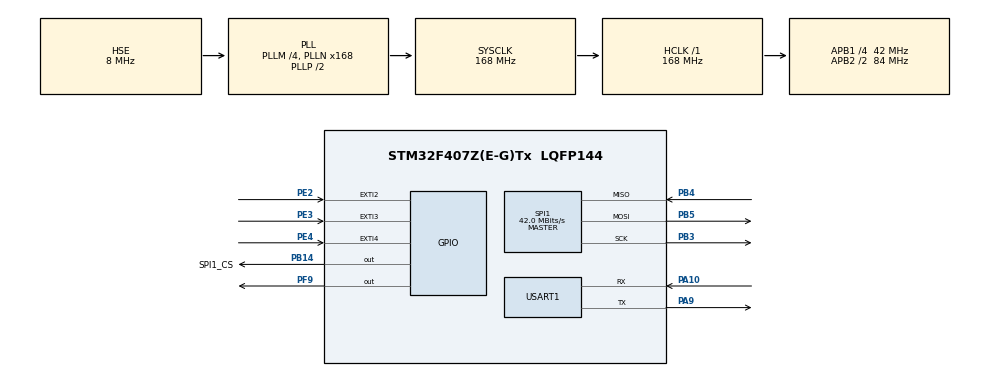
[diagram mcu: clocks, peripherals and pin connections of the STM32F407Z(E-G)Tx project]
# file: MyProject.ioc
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Mcu.Family=STM32F4
Mcu.Name=STM32F407Z(E-G)Tx
Mcu.Package=LQFP144
NVIC.EXTI2_IRQn=true\:3\:0\:true\:false\:true\:true\:true
NVIC.EXTI3_IRQn=true\:3\:0\:true\:false\:true\:true\:true
NVIC.EXTI4_IRQn=true\:3\:0\:true\:false\:true\:true\:true
NVIC.PriorityGroup=NVIC_PRIORITYGROUP_4
NVIC.USART1_IRQn=true\:0\:0\:false\:false\:true\:true\:true
PA10.Mode=Asynchronous
PA10.Signal=USART1_RX
PA13.Mode=Serial_Wire
PA13.Signal=SYS_JTMS-SWDIO
PA14.Mode=Serial_Wire
PA14.Signal=SYS_JTCK-SWCLK
PA9.Mode=Asynchronous
PA9.Signal=USART1_TX
PB14.GPIO_Label=SPI1_CS
PB14.GPIO_PuPd=GPIO_PULLUP
PB14.GPIO_Speed=GPIO_SPEED_FREQ_VERY_HIGH
PB14.PinState=GPIO_PIN_SET
PB14.Signal=GPIO_Output
PB3.Mode=Full_Duplex_Master
PB3.Signal=SPI1_SCK
PB4.Mode=Full_Duplex_Master
PB4.Signal=SPI1_MISO
PB5.Mode=Full_Duplex_Master
PB5.Signal=SPI1_MOSI
PE2.GPIO_ModeDefaultEXTI=GPIO_MODE_IT_RISING
PE2.GPIO_PuPd=GPIO_NOPULL
PE2.Signal=GPXTI2
PE3.GPIO_ModeDefaultEXTI=GPIO_MODE_IT_RISING
PE3.GPIO_PuPd=GPIO_NOPULL
PE3.Signal=GPXTI3
PE4.GPIO_ModeDefaultEXTI=GPIO_MODE_IT_RISING
PE4.GPIO_PuPd=GPIO_NOPULL
PE4.Signal=GPXTI4
PF9.GPIO_ModeDefaultOutputPP=GPIO_MODE_OUTPUT_PP
PF9.GPIO_PuPd=GPIO_NOPULL
PF9.GPIO_Speed=GPIO_SPEED_FREQ_LOW
PF9.PinState=GPIO_PIN_RESET
PF9.Signal=GPIO_Output
PH0-OSC_IN.Mode=HSE-External-Oscillator
PH0-OSC_IN.Signal=RCC_OSC_IN
PH1-OSC_OUT.Mode=HSE-External-Oscillator
PH1-OSC_OUT.Signal=RCC_OSC_OUT
ProjectManager.HeapSize=0x200
ProjectManager.StackSize=0x400
ProjectManager.TargetToolchain=MDK-ARM V5
RCC.48MHZClocksFreq_Value=84000000
RCC.AHBFreq_Value=168000000
RCC.APB1CLKDivider=RCC_HCLK_DIV4
RCC.APB1Freq_Value=42000000
RCC.APB1TimFreq_Value=84000000
RCC.APB2CLKDivider=RCC_HCLK_DIV2
RCC.APB2Freq_Value=84000000
RCC.APB2TimFreq_Value=168000000
RCC.CortexFreq_Value=168000000
RCC.HCLKFreq_Value=168000000
RCC.HSE_VALUE=8000000
RCC.HSI_VALUE=16000000
RCC.LSE_VALUE=32768
RCC.PLLM=4
RCC.PLLN=168
RCC.PLLSourceVirtual=RCC_PLLSOURCE_HSE
RCC.SYSCLKFreq_VALUE=168000000
RCC.SYSCLKSource=RCC_SYSCLKSOURCE_PLLCLK
RCC.VCOOutputFreq_Value=336000000
SPI1.CalculateBaudRate=42.0 MBits/s
SPI1.Direction=SPI_DIRECTION_2LINES
SPI1.Mode=SPI_MODE_MASTER
SPI1.VirtualType=VM_MASTER
USART1.VirtualMode=VM_ASYNC
board=custom

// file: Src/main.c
/* USER CODE BEGIN Header */
/**
  ******************************************************************************
  * @file           : main.c
  * @brief          : Main program body
  ******************************************************************************
  * @attention
  *
  * <h2><center>&copy; Copyright (c) 2020 STMicroelectronics.
  * All rights reserved.</center></h2>
  *
  * This software component is licensed by ST under BSD 3-Clause license,
  * the "License"; You may not use this file except in compliance with the
  * License. You may obtain a copy of the License at:
  *                        opensource.org/licenses/BSD-3-Clause
  *
  ******************************************************************************
  */
/* USER CODE END Header */

#include "main.h"
#include "spi.h"
#include "usart.h"
#include "gpio.h"

/* USER CODE BEGIN Includes */
#include "w25qxx.h"
/* USER CODE END Includes */

void SystemClock_Config(void);

/* USER CODE BEGIN 0 */
uint8_t RxCounter=0,RxBuffer1[50]={0},RxYemp1=0,F_Usart=0;
float get;
char getchar;
uint32_t getu32;
int getint;
const uint8_t TEXT_Buffer[]={"Handsome Chen\r\n"};
uint8_t TEXT_Buffer1[2]={12,13};
#define SIZE sizeof(TEXT_Buffer)
/* USER CODE END 0 */

int main(void)
{
  /* USER CODE BEGIN 1 */
	uint32_t FLASH_SIZE;
	uint8_t datatemp[25];
	//float test=3.545454;
  /* USER CODE END 1 */

  /* MCU Configuration--------------------------------------------------------*/

  /* Reset of all peripherals, Initializes the Flash interface and the Systick. */
  HAL_Init();

  /* Configure the system clock */
  SystemClock_Config();

  /* Initialize all configured peripherals */
  MX_GPIO_Init();
  MX_USART1_UART_Init();
  MX_SPI1_Init();
  /* USER CODE BEGIN 2 */
	W25QXX_Init();				    //W25QXX初始化
	FLASH_SIZE=16*1024*1024;	//FLASH 大小为16M字节
  /* USER CODE END 2 */

  /* Infinite loop */
  /* USER CODE BEGIN WHILE */
  while (1)
  {
		while(W25QXX_ReadID()!=W25Q128)								//检测不到W25Q128
			{
				HAL_UART_Transmit(&huart1, "Read Data Failt/r/n", 19, 50);
				HAL_Delay(30);
			}
//		W25QXX_AllData_Initial();
//		W25QXX_Put_u8Data(12);
//		W25QXX_Put_u8Data(123);
//		W25QXX_Put_u16Data(1234);
//		W25QXX_Put_u16Data(12345);
//		W25QXX_Put_u32Data(123456);
//		W25QXX_Put_u32Data(1234567);
//		W25QXX_Put_intData(12345678);
//		W25QXX_Put_intData(12345678);
//		W25QXX_Put_floatData(1.234567);
//		W25QXX_Put_floatData(12.34567);
//		W25QXX_Put_doubleData(12.3456);
//		W25QXX_Put_doubleData(123.456);
//		W25QXX_Put_charData(110);
//		W25QXX_Put_charData(110);
		W25QXX_Data_Fixchar(2,0);
		getchar = W25QXX_Data_charRead(2);
		while(1)
			{
				HAL_UART_Transmit(&huart1, TEXT_Buffer1, 4, 50);
				HAL_Delay(900);
			}
    /* USER CODE END WHILE */
  }
}

void SystemClock_Config(void)
{
  RCC_OscInitTypeDef RCC_OscInitStruct = {0};
  RCC_ClkInitTypeDef RCC_ClkInitStruct = {0};

  /** Configure the main internal regulator output voltage
  */
  __HAL_RCC_PWR_CLK_ENABLE();
  __HAL_PWR_VOLTAGESCALING_CONFIG(PWR_REGULATOR_VOLTAGE_SCALE1);
  /** Initializes the CPU, AHB and APB busses clocks
  */
  RCC_OscInitStruct.OscillatorType = RCC_OSCILLATORTYPE_HSE;
  RCC_OscInitStruct.HSEState = RCC_HSE_ON;
  RCC_OscInitStruct.PLL.PLLState = RCC_PLL_ON;
  RCC_OscInitStruct.PLL.PLLSource = RCC_PLLSOURCE_HSE;
  RCC_OscInitStruct.PLL.PLLM = 4;
  RCC_OscInitStruct.PLL.PLLN = 168;
  RCC_OscInitStruct.PLL.PLLP = RCC_PLLP_DIV2;
  RCC_OscInitStruct.PLL.PLLQ = 4;
  if (HAL_RCC_OscConfig(&RCC_OscInitStruct) != HAL_OK)
  {
    Error_Handler();
  }
  /** Initializes the CPU, AHB and APB busses clocks
  */
  RCC_ClkInitStruct.ClockType = RCC_CLOCKTYPE_HCLK|RCC_CLOCKTYPE_SYSCLK
                              |RCC_CLOCKTYPE_PCLK1|RCC_CLOCKTYPE_PCLK2;
  RCC_ClkInitStruct.SYSCLKSource = RCC_SYSCLKSOURCE_PLLCLK;
  RCC_ClkInitStruct.AHBCLKDivider = RCC_SYSCLK_DIV1;
  RCC_ClkInitStruct.APB1CLKDivider = RCC_HCLK_DIV4;
  RCC_ClkInitStruct.APB2CLKDivider = RCC_HCLK_DIV2;

  if (HAL_RCC_ClockConfig(&RCC_ClkInitStruct, FLASH_LATENCY_5) != HAL_OK)
  {
    Error_Handler();
  }
}

/* USER CODE BEGIN 4 */
// GPIO中断处理函数
void HAL_GPIO_EXTI_Callback(uint16_t GPIO_Pin)
	{
		if(GPIO_Pin==GPIO_PIN_2) // 2号中断线 按键共地检测下降沿
			{
				HAL_Delay(5);
				if(!HAL_GPIO_ReadPin(GPIOE, GPIO_PIN_2))
				HAL_GPIO_WritePin(GPIOF, GPIO_PIN_9, GPIO_PIN_RESET);
			}
		if(GPIO_Pin==GPIO_PIN_3) // 3号中断线 按键共地检测下降沿
			{
				HAL_Delay(5);
				if(!HAL_GPIO_ReadPin(GPIOE, GPIO_PIN_3))
				HAL_GPIO_WritePin(GPIOF, GPIO_PIN_9, GPIO_PIN_SET);
			}
//		if(GPIO_Pin==GPIO_PIN_4) // 4号中断线 按键共地检测下降沿
//			{
//				HAL_Delay(10);
//				if(!HAL_GPIO_ReadPin(GPIOE, GPIO_PIN_4))
//					{
//						HAL_GPIO_TogglePin(GPIOF, GPIO_PIN_9);
//						while(!HAL_GPIO_ReadPin(GPIOE, GPIO_PIN_4));
//					}
//				}
			// 按键中断设置函数
	}
// 串口中断
void HAL_UART_RxCpltCallback(UART_HandleTypeDef *huart)
	{
		if(huart->Instance == USART1)
			{
				HAL_UART_Transmit(&huart1, RxBuffer1, 4, 50);
				HAL_UART_Receive_IT(&huart1,RxBuffer1,4);
				HAL_GPIO_TogglePin(GPIOF, GPIO_PIN_9);
			}
	}
/* USER CODE END 4 */

void Error_Handler(void)
{
}

/************************ (C) COPYRIGHT STMicroelectronics *****END OF FILE****/
